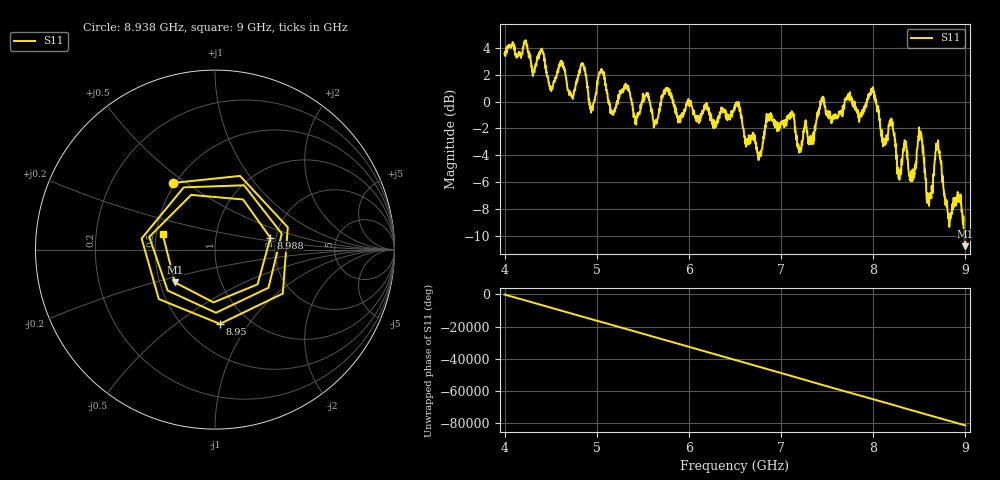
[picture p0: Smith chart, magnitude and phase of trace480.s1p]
! Created with skrf 1.8.0 (http://scikit-rf.org).
# Hz S RI R 50.0
!freq ReS11 ImS11
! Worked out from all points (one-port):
!   1601 points, 4 GHz to 9 GHz, reference 50 ohm
!   lowest |S11| = -10.8 dB at 8.997 GHz (marker M1), VSWR 1.81, Z = 29.9 - j11.9 ohm
!   |S11| at or under -10 dB: 8.987167 GHz to end of sweep
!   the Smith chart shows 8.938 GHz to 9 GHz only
!   S11 on the Smith chart (normalised r, x): 8.938 GHz: 0.49, +0.45; 8.95 GHz: 0.74, -0.74; 8.988 GHz: 1.87, +0.27; 9 GHz: 0.54, +0.11
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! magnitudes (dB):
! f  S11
! 4 GHz  3.5
! 4.625 GHz  2.7
! 4.725 GHz  0.4
! 4.85 GHz  2.8
! 4.944 GHz  -0.7
! 5.047 GHz  2.3
! 5.162 GHz  -0.8
! 5.25 GHz  0.8
! 5.875 GHz  -1.1
! 6.5 GHz  -0.4
! 6.762 GHz  -4.1
! 6.862 GHz  -1.3
! 7.125 GHz  -1.0
! 7.203 GHz  -3.5
! 7.75 GHz  0.2
! 7.997 GHz  1.1
! 8.206 GHz  -1.8
! 8.278 GHz  -5.6
! 8.375 GHz  -4.3
! 8.516 GHz  -2.3
! 8.606 GHz  -7.8
! 8.7 GHz  -3.5
! 8.822 GHz  -8.4
! 8.938 GHz  -7.2
! 8.95 GHz  -7.6
! 8.988 GHz  -10.0
! 8.997 GHz  -10.8
! 9 GHz  -10.3
